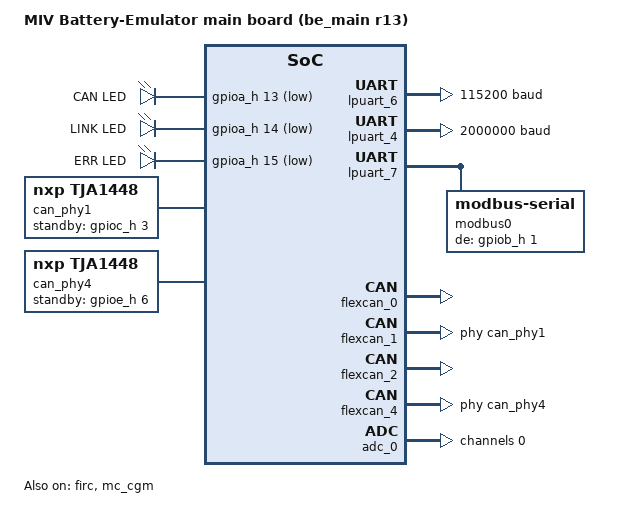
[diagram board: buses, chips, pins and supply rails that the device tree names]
/*
 * MIV Battery-Emulator main board (be_main), schematic r13 (11.11.2026): S32K312 in HDQFP-172.
 * The pins are those of the schematic (hw/be_main, hw/out/be_main_schematic_r13.pdf); PINS.md lists
 * every one with its sheet and what is not checked. The board has not been built yet: this file is
 * checked by building only.
 *
 * Everything the FRDM-A-S32K312 has on board and this board does not (the TJA1043 on CAN0 with
 * EN PTC21 / STB_N PTC20 / ERR_N PTC23, the user buttons, OpenSDA) is left out: on this board
 * PTC20 / PTC21 / PTC23 are HS_SEL0..2 of the VNQ7140AJ MultiSense.
 *
 * SPDX-License-Identifier: GPL-3.0-or-later
 */

/dts-v1/;

/* Same die as the FRDM: its SoC devicetree (the MCX E317 one with the flash fixed) */
#include "../../nxp/frdm_a_s32k312/nxp_s32k312.dtsi"
#include "miv_be_main-pinctrl.dtsi"
#include <zephyr/dt-bindings/gpio/gpio.h>
#include <zephyr/dt-bindings/adc/adc.h>

/ {
	model = "MIV Battery-Emulator main board (be_main r13)";
	compatible = "miv,be-main";

	/*
	 * led0 / led1 / led2 are what the FRDM calls red / green / blue: MCUboot blinks led0 while it
	 * swaps images and lights led2 while it runs, the application blinks led1.
	 */
	aliases {
		led0 = &led_err;
		led1 = &led_link;
		led2 = &led_can;
		be-link = &lpuart_4;
		be-multisense = &hs_adc;
	};

	chosen {
		zephyr,sram = &sram;
		zephyr,itcm = &itcm;
		zephyr,dtcm = &dtcm;
		zephyr,flash = &flash0;
		zephyr,code-partition = &code_partition;
		zephyr,console = &lpuart_6;
		zephyr,shell-uart = &lpuart_6;
		zephyr,canbus = &flexcan_0;
	};

	/* Sheet 02: anode through 1 k to 3V3, cathode on the pin: active low (as on the FRDM) */
	leds {
		compatible = "gpio-leds";

		/* D20, yellow, PTA29 (pin 32) */
		led_can: led-can {
			gpios = <&gpioa_h 13 GPIO_ACTIVE_LOW>;
			label = "CAN LED";
		};

		/* D21, green, PTA30 (pin 33) */
		led_link: led-link {
			gpios = <&gpioa_h 14 GPIO_ACTIVE_LOW>;
			label = "LINK LED";
		};

		/* D22, red, PTA31 (pin 39) */
		led_err: led-err {
			gpios = <&gpioa_h 15 GPIO_ACTIVE_LOW>;
			label = "ERR LED";
		};
	};

	/*
	 * Battery CAN transceiver U3, TJA1448A (sheet 03): STBx HIGH = standby, LOW = normal, 10 k to 3V3
	 * (R56, R57), so the transceivers stay in standby through a reset until the CAN driver starts the
	 * channel. The driver sets standby at its start and normal in can_start().
	 */
	can_phy1: can-phy1 {
		compatible = "nxp,tja1448", "can-transceiver-gpio";
		/* CAN1_STB, PTC19 (pin 84; r13, was PTE21) -> U3 pin 14 (STB1) */
		standby-gpios = <&gpioc_h 3 GPIO_ACTIVE_HIGH>;
		max-bitrate = <5000000>;
		#phy-cells = <0>;
	};

	can_phy4: can-phy4 {
		compatible = "nxp,tja1448", "can-transceiver-gpio";
		/* CAN4_STB, PTE22 (pin 154) -> U3 pin 8 (STB2) */
		standby-gpios = <&gpioe_h 6 GPIO_ACTIVE_HIGH>;
		max-bitrate = <5000000>;
		#phy-cells = <0>;
	};

	/*
	 * The other GPIO lines of the schematic, by their net names. Outputs that the Battery-Emulator
	 * core does not drive are set off by the application at start (output-off-at-start). OUT1..OUT4
	 * and BMS_POWER are the core's (app/emulator/boards/miv_be_main.overlay): until it takes them they
	 * stay undriven and the 100 k pull-downs (R30..R33, R36) keep the VNQ7140AJ channels off.
	 */
	board_lines: board-lines {
		compatible = "miv,gpio-lines";

		/* Sheet 06, outputs through U10 / U11 (VNQ7140AJ), 15 k in series, 100 k to GND */
		out1: out1 {
			/* OUT1_EN, PTA0 (pin 137): battery 1 plus, U10 IN0, J9-1 */
			gpios = <&gpioa_l 0 GPIO_ACTIVE_HIGH>;
		};

		out2: out2 {
			/* OUT2_EN, PTA1 (pin 135): battery 1 minus, U10 IN1, J9-2 */
			gpios = <&gpioa_l 1 GPIO_ACTIVE_HIGH>;
		};

		out3: out3 {
			/* OUT3_EN, PTA3 (pin 123): battery 1 precharge, U10 IN2, J9-3 */
			gpios = <&gpioa_l 3 GPIO_ACTIVE_HIGH>;
		};

		out4: out4 {
			/* OUT4_EN, PTA2 (pin 124): battery 2 plus, U10 IN3, J9-4 */
			gpios = <&gpioa_l 2 GPIO_ACTIVE_HIGH>;
		};

		out5: out5 {
			/* OUT5_EN, PTC6 (pin 141): battery 2 minus, U11 IN0, J9-5 */
			gpios = <&gpioc_l 6 GPIO_ACTIVE_HIGH>;
			output-off-at-start;
		};

		out6: out6 {
			/* OUT6_EN, PTC7 (pin 140): battery 2 precharge, U11 IN1, J9-6 */
			gpios = <&gpioc_l 7 GPIO_ACTIVE_HIGH>;
			output-off-at-start;
		};

		/* Sheet 06, BMS supply and ignition through U12 (VNQ7140AJ) */
		bms_power: bms-power {
			/* BMS_POWER = IG3, PTD18 (pin 105): U12 IN1; JP10 1-2 also IG3_2 */
			gpios = <&gpiod_h 2 GPIO_ACTIVE_HIGH>;
		};

		bms_power2: bms-power2 {
			/* BMS_POWER2, PTD20 (pin 111): IG3_2 through JP10 2-3 (U12 IN3) */
			gpios = <&gpiod_h 4 GPIO_ACTIVE_HIGH>;
			output-off-at-start;
		};

		bms12_en: bms12-en {
			/* BMS12_EN, PTD22 (pin 118): +12V_BMS, U12 IN0. Off until the firmware turns it on
			 * (R94 pull-up not fitted, R46 100 k to GND)
			 */
			gpios = <&gpiod_h 6 GPIO_ACTIVE_HIGH>;
			output-off-at-start;
		};

		bms12_en2: bms12-en2 {
			/* BMS12_EN2, PTD23 (pin 122): +12V_BMS2, U12 IN2 (R95 not fitted, R47 100 k to GND) */
			gpios = <&gpiod_h 7 GPIO_ACTIVE_HIGH>;
			output-off-at-start;
		};

		/* Sheet 06, MultiSense of U10..U12, each line 15 k in series; the sense voltage on hs_adc */
		hs_sel0: hs-sel0 {
			/* HS_SEL0, PTC20 (pin 85): SEL0 of U10..U12 */
			gpios = <&gpioc_h 4 GPIO_ACTIVE_HIGH>;
			output-off-at-start;
		};

		hs_sel1: hs-sel1 {
			/* HS_SEL1, PTC21 (pin 86) */
			gpios = <&gpioc_h 5 GPIO_ACTIVE_HIGH>;
			output-off-at-start;
		};

		hs_sel2: hs-sel2 {
			/* HS_SEL2, PTC23 (pin 87) */
			gpios = <&gpioc_h 7 GPIO_ACTIVE_HIGH>;
			output-off-at-start;
		};

		hs_sen_a: hs-sen-a {
			/* HS_SEN_A, PTE23 (pin 156): SEn of U10 (MultiSense on the shared line when high) */
			gpios = <&gpioe_h 7 GPIO_ACTIVE_HIGH>;
			output-off-at-start;
		};

		hs_sen_b: hs-sen-b {
			/* HS_SEN_B, PTE26 (pin 164): SEn of U11 */
			gpios = <&gpioe_h 10 GPIO_ACTIVE_HIGH>;
			output-off-at-start;
		};

		hs_sen_c: hs-sen-c {
			/* HS_SEN_C, PTA9 (pin 171): SEn of U12 */
			gpios = <&gpioa_l 9 GPIO_ACTIVE_HIGH>;
			output-off-at-start;
		};

		hs_frst: hs-frst {
			/* HS_FRST, PTD21 (pin 115): FaultRST of U10..U12. Low (as their internal pull-down holds
			 * it with the pin undriven) = channels restart by themselves after a fault
			 */
			gpios = <&gpiod_h 5 GPIO_ACTIVE_HIGH>;
			output-off-at-start;
		};

		/*
		 * Sheet 02, STOP input PTC29 (pin 99): R24 10 k to 3V3, R25 1 k, C35 100 n, the contact from
		 * J1-6 to GND (J1-7). Active low: the normally closed contact holds the pin low, so pressed
		 * or a broken wire reads as "not closed". The core reads the line in its logical sense (on
		 * the FRDM the button is wired to 3.3 V with an internal pull-down instead).
		 */
		stop_in: stop-in {
			gpios = <&gpioc_h 13 GPIO_ACTIVE_LOW>;
		};

		/*
		 * Sheet 07, control of the ESP32 board on socket J13. ESP_EN pulls EN of the ESP32-S3 low
		 * (10 k / 1 uF there, 1 k in series): open drain, never driven high; the GPIO driver has no
		 * open drain, so it is driven low or left as an input. Not touched at start.
		 */
		esp_en: esp-en {
			/* ESP_EN, PTD16 (pin 34), J13-7 */
			gpios = <&gpiod_h 0 GPIO_ACTIVE_LOW>;
		};

		esp_boot: esp-boot {
			/* ESP_BOOT, PTD17 (pin 31), J13-8, IO0 of the ESP32-S3 (10 k pull-up there). As ESP_EN */
			gpios = <&gpiod_h 1 GPIO_ACTIVE_LOW>;
		};

		aux1: aux1 {
			/* AUX1, PTD14 (pin 40), J13-9: no function yet */
			gpios = <&gpiod_l 14 GPIO_ACTIVE_HIGH>;
		};

		aux2: aux2 {
			/* AUX2, PTD15 (pin 35), J13-10: no function yet */
			gpios = <&gpiod_l 15 GPIO_ACTIVE_HIGH>;
		};
	};
};

&flash0 {
	partitions {
		ranges;
		#address-cells = <1>;
		#size-cells = <1>;

		ivt_header: partition@0 {
			compatible = "zephyr,mapped-partition";
			label = "ivt-header";
			reg = <0x00000000 0x100>;
		};

		code_partition: partition@100 {
			compatible = "zephyr,mapped-partition";
			label = "code-partition";
			reg = <0x00000100 (DT_SIZE_K(1936) - 0x100)>;
		};

		/* Settings (NVS), last 64 KB of the usable code flash, as on the FRDM */
		storage_partition: partition@1e4000 {
			compatible = "zephyr,mapped-partition";
			label = "storage";
			reg = <0x001e4000 DT_SIZE_K(64)>;
		};
	};
};

/* S32K312 is rated for 120 MHz */
&core0 {
	clock-frequency = <DT_FREQ_M(120)>;
};

&gpioa_l {
	status = "okay";
};

&gpioa_h {
	status = "okay";
};

&gpiob_h {
	status = "okay";
};

&gpioc_l {
	status = "okay";
};

&gpioc_h {
	status = "okay";
};

&gpiod_l {
	status = "okay";
};

&gpiod_h {
	status = "okay";
};

&gpioe_h {
	status = "okay";
};

&lpuart_6 {
	status = "okay";
	current-speed = <115200>;
	pinctrl-0 = <&pinmux_lpuart_6>;
	pinctrl-names = "default";
};

&lpuart_4 {
	status = "okay";
	current-speed = <2000000>;
	pinctrl-0 = <&pinmux_lpuart_4>;
	pinctrl-names = "default";
};

/* RS485 (U4 ST3485, J1-3 A / J1-4 B). The port is described here, the application turns it on */
&lpuart_7 {
	pinctrl-0 = <&pinmux_lpuart_7>;
	pinctrl-names = "default";

	modbus0 {
		compatible = "zephyr,modbus-serial";
		/* RS485_DE, PTB17 (pin 110): DE and /RE of U4 */
		de-gpios = <&gpiob_h 1 GPIO_ACTIVE_HIGH>;
		status = "okay";
	};
};

/* CAN0, inverter 1: ISO1044B (no standby pin, always active) */
&flexcan_0 {
	pinctrl-0 = <&pinmux_flexcan_0>;
	pinctrl-names = "default";
	status = "okay";
};

/* CAN1, battery 1 */
&flexcan_1 {
	pinctrl-0 = <&pinmux_flexcan_1>;
	pinctrl-names = "default";
	phys = <&can_phy1>;
	status = "okay";
};

/* CAN2, inverter 2: ISO1044B like CAN0. The application has three channels so far and does not use it */
&flexcan_2 {
	pinctrl-0 = <&pinmux_flexcan_2>;
	pinctrl-names = "default";
	status = "okay";
};

/* CAN4, battery 2 */
&flexcan_4 {
	pinctrl-0 = <&pinmux_flexcan_4>;
	pinctrl-names = "default";
	phys = <&can_phy4>;
	status = "okay";
};

/*
 * MultiSense of U10..U12 (sheet 06): HS_ADC on PTA8 (pin 172) = ADC0_P2, precise input 2 of ADC0
 * (NXP IO signal table; an analog input has no mux setting, the pin stays a disabled input after
 * reset). MultiSense current into R42 1 k to GND (HS_SENSE), then R43 15 k / R44 12 k to HS_ADC,
 * C83 10 nF. Reference VREFH = 3V3 through FB2.
 * Only described: nothing reads it yet.
 */
&adc_0 {
	status = "okay";
	#address-cells = <1>;
	#size-cells = <0>;

	hs_adc: channel@0 {
		reg = <0>;
		zephyr,gain = "ADC_GAIN_1";
		zephyr,reference = "ADC_REF_VDD_1";
		zephyr,acquisition-time = <ADC_ACQ_TIME_DEFAULT>;
		zephyr,resolution = <12>;
		zephyr,input-positive = <2>;
	};
};

/*
 * Clocks as on the FRDM: Y1 16 MHz crystal, CL 8 pF (sheet 02) -> PLL VCO 960 MHz -> PHI0 120 MHz.
 * CORE 120, AIPS_PLAT 60 (FlexCAN0-2), AIPS_SLOW 30, HSE 60, DCM 30.
 */
&firc {
	status = "okay";
	firc-div = "UnDiv";
};

&fxosc {
	status = "okay";
	freq = <16000000>;
	workmode = "crystal";
	delay = <49>;
	overdrive = <12>;
};

&pll {
	status = "okay";
	workmode = "Integer";
	prediv = <2>;
	postdiv = <2>;
	multiplier = <120>;
	fracloopdiv = <0>;
	stepsize = <0>;
	stepnum = <0>;
	accuracy = "Accuracy9";
	outdiv = <4 4>;
};

&mc_cgm {
	status = "okay";
	max-ido-change = <50>;
	step-duration = <1>;
	clk-src-freq = <120000000>;
	mux-0-dc-0-div = <1>;
	mux-0-dc-1-div = <2>;
	mux-0-dc-2-div = <4>;
	mux-0-dc-3-div = <2>;
	mux-0-dc-4-div = <4>;
	mux-0-dc-5-div = <4>;
	mux-0-dc-6-div = <1>;
	mux-1-dc-0-div = <1>;
	mux-2-dc-0-div = <1>;
	mux-10-dc-0-div = <4>;
};
